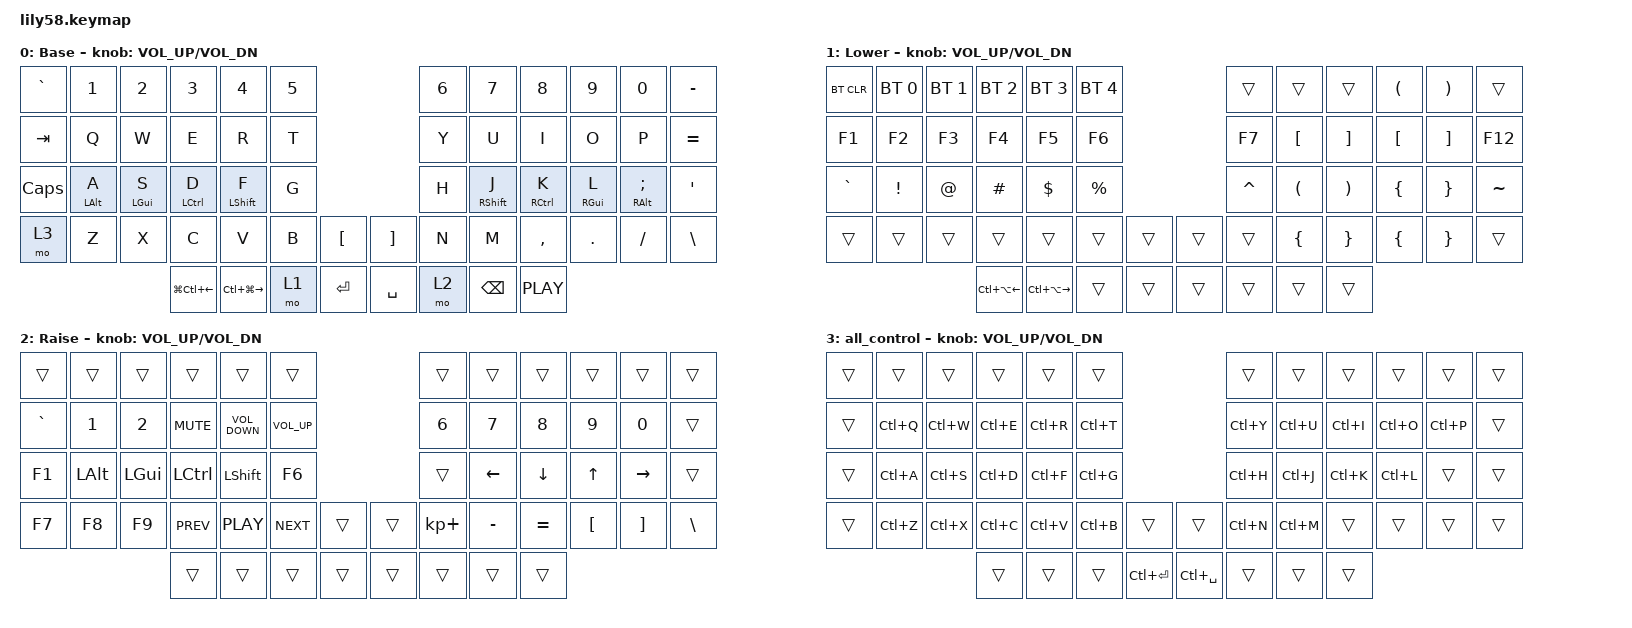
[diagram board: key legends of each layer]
/*
 * Copyright (c) 2020 The ZMK Contributors
 *
 * SPDX-License-Identifier: MIT
 */

#include <behaviors.dtsi>
#include <dt-bindings/zmk/bt.h>
#include <dt-bindings/zmk/keys.h>

&mt { flavor = "balanced"; };

/ {
    behaviors {
        hrm: hrm {
            compatible = "zmk,behavior-hold-tap";
            label = "HRM";
            #binding-cells = <2>;
            tapping-term-ms = <280>;
            quick-tap-ms = <100>;
            flavor = "balanced";
            bindings = <&kp>, <&kp>;
        };

        tapdance_escape: tapdance_escape {
            compatible = "zmk,behavior-tap-dance";
            label = "TAPDANCE_ESCAPE";
            #binding-cells = <0>;
            bindings = <&kp GRAVE>, <&kp ESC>;
        };
    };

    macros {
        desk_left: desk_left {
            compatible = "zmk,behavior-macro";
            #binding-cells = <0>;
            bindings = <&macro_press>, <&kp LC(LG(LEFT))>;

            label = "DESK_LEFT";
        };

        right_desk: right_desk {
            compatible = "zmk,behavior-macro";
            #binding-cells = <0>;
            bindings = <&kp LC(LG(RIGHT))>;
            label = "RIGHT_DESK";
        };

        left_snap: left_snap {
            compatible = "zmk,behavior-macro";
            #binding-cells = <0>;
            bindings = <&kp LC(LA(LEFT))>;
            label = "LEFT_SNAP";
        };

        right_snap: right_snap {
            compatible = "zmk,behavior-macro";
            #binding-cells = <0>;
            bindings = <&kp LA(LC(RIGHT))>;
            label = "RIGHT_SNAP";
        };
    };

    combos {
        compatible = "zmk,combos";

        escape_combo {
            bindings = <&kp ESCAPE>;
            key-positions = <0 1>;
        };

        left {
            bindings = <&kp LEFT>;
            key-positions = <44 45>;
        };

        down {
            bindings = <&kp DOWN>;
            key-positions = <46 45>;
        };

        right {
            bindings = <&kp RIGHT>;
            key-positions = <46 47>;
        };

        up {
            bindings = <&kp UP>;
            key-positions = <20 19>;
        };

        play {
            bindings = <&kp C_PLAY_PAUSE>;
            key-positions = <41 40>;
        };
    };

    keymap {
        compatible = "zmk,keymap";

        default_layer {
            // ------------------------------------------------------------------------------------------------------------
            // |  ESC  |  1  |  2  |  3   |  4   |  5   |                   |  6   |  7    |  8    |  9   |   0   |   `   |
            // |  TAB  |  Q  |  W  |  E   |  R   |  T   |                   |  Y   |  U    |  I    |  O   |   P   |   -   |
            // |  CTRL |  A  |  S  |  D   |  F   |  G   |                   |  H   |  J    |  K    |  L   |   ;   |   '   |
            // | SHIFT |  Z  |  X  |  C   |  V   |  B   |   "["  |  |  "]"  |  N   |  M    |  ,    |  .   |   /   | SHIFT |
            //                     | ALT  | GUI  | LOWER|  SPACE |  | ENTER | RAISE| BSPC  | GUI   |

            display-name = "Base";
            bindings = <
&kp GRAVE     &kp N1          &kp N2          &kp N3            &kp N4             &kp N5                          &kp N6  &kp N7             &kp N8       &kp N9           &kp N0              &kp MINUS
&kp TAB       &kp Q           &kp W           &kp E             &kp R              &kp T                           &kp Y   &kp U              &kp I        &kp O            &kp P               &kp EQUAL
&kp CAPSLOCK  &mt LEFT_ALT A  &mt LEFT_GUI S  &mt LCTRL D       &hrm LEFT_SHIFT F  &kp G                           &kp H   &mt RIGHT_SHIFT J  &mt RCTRL K  &mt RIGHT_GUI L  &mt RIGHT_ALT SEMI  &kp SQT
&mo 3         &kp Z           &kp X           &kp C             &kp V              &kp B   &kp LBKT     &kp RBKT   &kp N   &kp M              &kp COMMA    &kp DOT          &kp FSLH            &kp BACKSLASH
                                              &kp LG(LC(LEFT))  &kp LC(LG(RIGHT))  &mo 1   &kp ENTER    &kp SPACE  &mo 2   &kp BSPC           &kp C_PLAY
            >;

            sensor-bindings = <&inc_dec_kp C_VOL_UP C_VOL_DN>;
        };

        lower_layer {
            // ------------------------------------------------------------------------------------------------------------
            // | BTCLR | BT1 | BT2 |  BT3 |  BT4 |  BT5 |                   |      |       |       |      |       |       |
            // |  F1   |  F2 |  F3 |  F4  |  F5  |  F6  |                   |  F7  |  F8   |  F9   |  F10 |  F11  |  F12  |
            // |   `   |  !  |  @  |  #   |  $   |  %   |                   |  ^   |  &    |  *    |  (   |   )   |   ~   |
            // |       |     |     |      |      |      |        |  |       |      |  _    |  +    |  {   |   }   |  "|"  |
            //                     |      |      |      |        |  |       |      |       |       |

            display-name = "Lower";
            bindings = <
&bt BT_CLR  &bt BT_SEL 0  &bt BT_SEL 1  &bt BT_SEL 2      &bt BT_SEL 3       &bt BT_SEL 4                    &trans     &trans                &trans                 &kp LEFT_PARENTHESIS  &kp RIGHT_PARENTHESIS  &trans
&kp F1      &kp F2        &kp F3        &kp F4            &kp F5             &kp F6                          &kp F7     &kp LEFT_BRACKET      &kp RIGHT_BRACKET      &kp LEFT_BRACKET      &kp RIGHT_BRACKET      &kp F12
&kp GRAVE   &kp EXCL      &kp AT        &kp HASH          &kp DOLLAR         &kp PRCNT                       &kp CARET  &kp LEFT_PARENTHESIS  &kp RIGHT_PARENTHESIS  &kp LEFT_BRACE        &kp RIGHT_BRACE        &kp TILDE
&trans      &trans        &trans        &trans            &trans             &trans        &trans    &trans  &trans     &kp LEFT_BRACE        &kp RIGHT_BRACE        &kp LBRC              &kp RBRC               &trans
                                        &kp LC(LA(LEFT))  &kp LC(LA(RIGHT))  &trans        &trans    &trans  &trans     &trans                &trans
            >;

            sensor-bindings = <&inc_dec_kp C_VOL_UP C_VOL_DN>;
        };

        raise_layer {
            // ------------------------------------------------------------------------------------------------------------
            // |       |     |     |      |      |      |                   |      |       |       |      |       |       |
            // |   `   |  1  |  2  |  3   |  4   |  5   |                   |  6   |   7   |   8   |  9   |   0   |       |
            // |   F1  |  F2 |  F3 |  F4  |  F5  |  F6  |                   |      |   <-  |   v   |  ^   |  ->   |       |
            // |   F7  |  F8 |  F9 |  F10 |  F11 |  F12 |        |  |       |  +   |   -   |   =   |  [   |   ]   |   \   |
            //                     |      |      |      |        |  |       |      |       |       |

            display-name = "Raise";
            bindings = <
&trans     &trans        &trans        &trans      &trans             &trans                             &trans       &trans     &trans     &trans    &trans     &trans
&kp GRAVE  &kp N1        &kp N2        &kp C_MUTE  &kp C_VOLUME_DOWN  &kp C_VOLUME_UP                    &kp N6       &kp N7     &kp N8     &kp N9    &kp N0     &trans
&kp F1     &kp LEFT_ALT  &kp LEFT_GUI  &kp LCTRL   &kp LEFT_SHIFT     &kp F6                             &trans       &kp LEFT   &kp DOWN   &kp UP    &kp RIGHT  &trans
&kp F7     &kp F8        &kp F9        &kp C_PREV  &kp C_PLAY         &kp C_NEXT       &trans    &trans  &kp KP_PLUS  &kp MINUS  &kp EQUAL  &kp LBKT  &kp RBKT   &kp BSLH
                                       &trans      &trans             &trans           &trans    &trans  &trans       &trans     &trans
            >;

            sensor-bindings = <&inc_dec_kp C_VOL_UP C_VOL_DN>;
        };

        all_control {
            display-name = "all_control";
            bindings = <
&trans  &trans     &trans     &trans     &trans     &trans                                     &trans     &trans     &trans     &trans     &trans     &trans
&trans  &kp LC(Q)  &kp LC(W)  &kp LC(E)  &kp LC(R)  &kp LC(T)                                  &kp LC(Y)  &kp LC(U)  &kp LC(I)  &kp LC(O)  &kp LC(P)  &trans
&trans  &kp LC(A)  &kp LC(S)  &kp LC(D)  &kp LC(F)  &kp LC(G)                                  &kp LC(H)  &kp LC(J)  &kp LC(K)  &kp LC(L)  &trans     &trans
&trans  &kp LC(Z)  &kp LC(X)  &kp LC(C)  &kp LC(V)  &kp LC(B)  &trans           &trans         &kp LC(N)  &kp LC(M)  &trans     &trans     &trans     &trans
                              &trans     &trans     &trans     &kp LC(ENTER)    &kp LC(SPACE)  &trans     &trans     &trans
            >;

            sensor-bindings = <&inc_dec_kp C_VOL_UP C_VOL_DN>;
        };
    };
};
